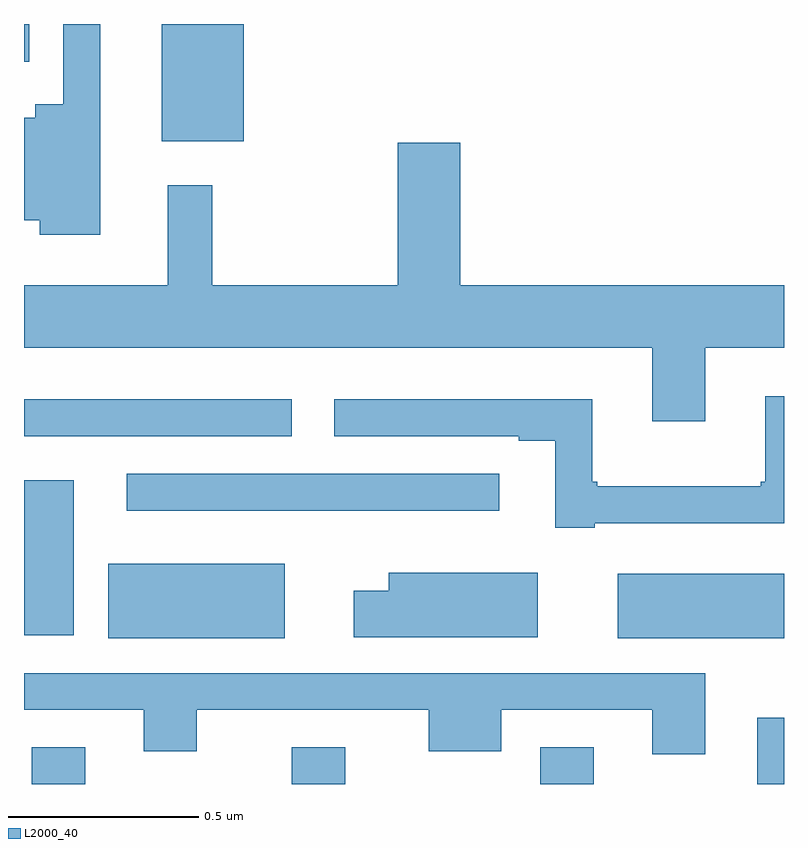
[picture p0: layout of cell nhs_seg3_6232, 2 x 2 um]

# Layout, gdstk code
import gdstk
lib = gdstk.Library(unit=1e-6, precision=1e-09)
def R(c, l, rs):  # rectangles x0, y0, x1, y1
    for r in rs: c.add(gdstk.rectangle(r[:2], r[2:], *l))
def P(c, l, *ps):  # polygons
    for p in ps: c.add(gdstk.Polygon(p, *l))
L2000_40 = (2000, 40)

nhs_seg3_6232 = lib.new_cell('nhs_seg3_6232')
R(nhs_seg3_6232, L2000_40, [(188.021,734.4,188.161,734.497), (188.705,734.4,188.845,734.497), (189.359,734.4,189.499,734.497), (189.929,734.4,190,734.575), (188.222,734.783,188.686,734.98), (189.563,734.783,190,734.953), (188,734.792,188.131,735.199), (188.271,735.119,189.25,735.216), (188,735.315,188.704,735.412), (188.363,736.091,188.578,736.4), (188,736.301,188.014,736.4)])
P(nhs_seg3_6232, L2000_40, [(188.2,736.4),(188.103,736.4),(188.103,736.189),(188.03,736.189),(188.03,736.153),(188,736.153),(188,735.884),(188.042,735.884),(188.042,735.845),(188.2,735.845)],
  [(189.793,735.548),(190,735.548),(190,735.712),(189.148,735.712),(189.148,736.087),(188.984,736.087),(188.984,735.712),(188.495,735.712),(188.495,735.976),(188.378,735.976),(188.378,735.712),(188,735.712),(188,735.548),(189.653,735.548),(189.653,735.354),(189.793,735.354)],
  [(189.502,735.086),(190,735.086),(190,735.421),(189.95,735.421),(189.95,735.196),(189.939,735.196),(189.939,735.184),(189.508,735.184),(189.508,735.196),(189.496,735.196),(189.496,735.412),(188.817,735.412),(188.817,735.315),(189.302,735.315),(189.302,735.303),(189.398,735.303),(189.398,735.075),(189.502,735.075)],
  [(189.352,734.956),(188.96,734.956),(188.96,734.908),(188.868,734.908),(188.868,734.786),(189.352,734.786)],
  [(189.793,734.691),(188,734.691),(188,734.595),(188.315,734.595),(188.315,734.486),(188.455,734.486),(188.455,734.595),(189.065,734.595),(189.065,734.486),(189.256,734.486),(189.256,734.595),(189.653,734.595),(189.653,734.478),(189.793,734.478)])

lib.write_gds('nhs_seg3_6232.gds')
